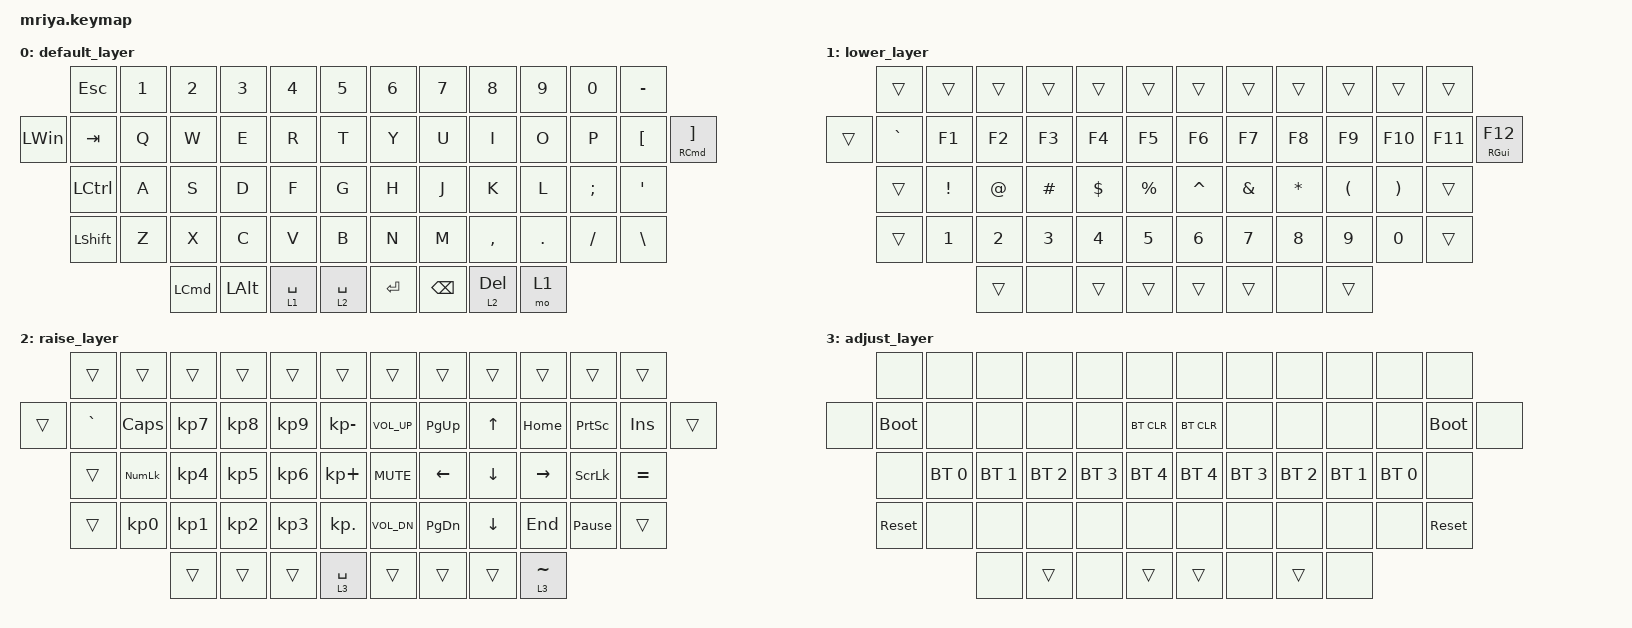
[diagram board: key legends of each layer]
/*
 * Copyright (c) 2023 Andrei Gaevskii
 *
 * SPDX-License-Identifier: MIT
 */

#include <behaviors.dtsi>
#include <dt-bindings/zmk/bt.h>
#include <dt-bindings/zmk/keys.h>

#define DEF 0
#define LWR 1
#define RSE 2
#define ADJ 3

&lt { quick_tap_ms = <200>; };

&mt { quick_tap_ms = <200>; };

/ {
    keymap {
        compatible = "zmk,keymap";

        default_layer {
            bindings = <
          &kp ESC         &kp N1  &kp N2    &kp N3        &kp N4       &kp N5         &kp N6     &kp N7         &kp N8     &kp N9   &kp N0     &kp MINUS
&kp LWIN  &kp TAB         &kp Q   &kp W     &kp E         &kp R        &kp T          &kp Y      &kp U          &kp I      &kp O    &kp P      &kp LBKT          &mt RCMD RIGHT_BRACKET
          &kp LCTRL       &kp A   &kp S     &kp D         &kp F        &kp G          &kp H      &kp J          &kp K      &kp L    &kp SEMI   &kp SINGLE_QUOTE
          &kp LEFT_SHIFT  &kp Z   &kp X     &kp C         &kp V        &kp B          &kp N      &kp M          &kp COMMA  &kp DOT  &kp SLASH  &kp BACKSLASH
                                  &kp LCMD  &kp LEFT_ALT  &lt 1 SPACE  &lt 2 SPACE    &kp ENTER  &kp BACKSPACE  &lt 2 DEL  &mo 1
            >;
        };

        lower_layer {
            bindings = <
        &trans     &trans    &trans  &trans    &trans    &trans       &trans     &trans    &trans    &trans    &trans    &trans
&trans  &kp GRAVE  &kp F1    &kp F2  &kp F3    &kp F4    &kp F5       &kp F6     &kp F7    &kp F8    &kp F9    &kp F10   &kp F11  &mt RGUI F12
        &trans     &kp EXCL  &kp AT  &kp HASH  &kp DLLR  &kp PRCNT    &kp CARET  &kp AMPS  &kp STAR  &kp LPAR  &kp RPAR  &trans
        &trans     &kp N1    &kp N2  &kp N3    &kp N4    &kp N5       &kp N6     &kp N7    &kp N8    &kp N9    &kp N0    &trans
                             &trans  &none     &trans    &trans       &trans     &trans    &none     &trans
            >;
        };

        raise_layer {
            bindings = <
        &trans     &trans        &trans     &trans     &trans     &trans          &trans        &trans     &trans          &trans       &trans           &trans
&trans  &kp GRAVE  &kp CAPSLOCK  &kp KP_N7  &kp KP_N8  &kp KP_N9  &kp KP_MINUS    &kp C_VOL_UP  &kp PG_UP  &kp UP_ARROW    &kp HOME     &kp PRINTSCREEN  &kp INSERT  &trans
        &trans     &kp KP_NUM    &kp KP_N4  &kp KP_N5  &kp KP_N6  &kp KP_PLUS     &kp C_MUTE    &kp LEFT   &kp DOWN_ARROW  &kp RIGHT    &kp SCROLLLOCK   &kp EQUAL
        &trans     &kp KP_N0     &kp KP_N1  &kp KP_N2  &kp KP_N3  &kp KP_DOT      &kp C_VOL_DN  &kp PG_DN  &kp DOWN        &kp END      &kp PAUSE_BREAK  &trans
                                 &trans     &trans     &trans     &lt 3 SPACE     &trans        &trans     &trans          &lt 3 TILDE
            >;
        };

        adjust_layer {
            bindings = <
       &none        &none         &none         &none         &none         &none           &none         &none         &none         &none         &none         &none
&none  &bootloader  &none         &none         &none         &none         &bt BT_CLR      &bt BT_CLR    &none         &none         &none         &none         &bootloader  &none
       &none        &bt BT_SEL 0  &bt BT_SEL 1  &bt BT_SEL 2  &bt BT_SEL 3  &bt BT_SEL 4    &bt BT_SEL 4  &bt BT_SEL 3  &bt BT_SEL 2  &bt BT_SEL 1  &bt BT_SEL 0  &none
       &sys_reset   &none         &none         &none         &none         &none           &none         &none         &none         &none         &none         &sys_reset
                                  &none         &trans        &none         &trans          &trans        &none         &trans        &none
            >;
        };
    };
};
